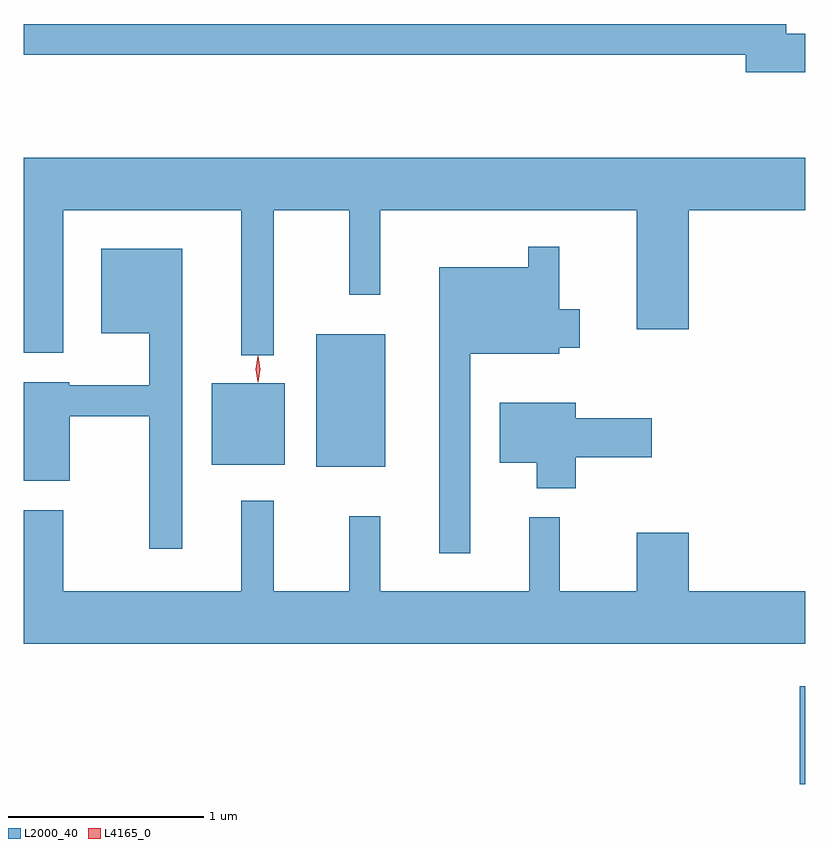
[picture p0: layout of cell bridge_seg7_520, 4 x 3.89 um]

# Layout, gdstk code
import gdstk
lib = gdstk.Library(unit=1e-6, precision=1e-09)
def R(c, l, rs):  # rectangles x0, y0, x1, y1
    for r in rs: c.add(gdstk.rectangle(r[:2], r[2:], *l))
def P(c, l, *ps):  # polygons
    for p in ps: c.add(gdstk.Polygon(p, *l))
L2000_40 = (2000, 40)
L4165_0 = (4165, 0)

bridge_seg7_520 = lib.new_cell('bridge_seg7_520')
R(bridge_seg7_520, L2000_40, [(895.231,1751.337,895.259,1751.838), (892.756,1752.961,893.109,1753.639), (892.221,1752.971,892.594,1753.389)])
P(bridge_seg7_520, L2000_40, [(895.259,1755.179),(895.164,1755.179),(895.164,1755.229),(891.259,1755.229),(891.259,1755.071),(894.956,1755.071),(894.956,1754.981),(895.259,1754.981)],
  [(892.539,1754.276),(892.926,1754.276),(892.926,1753.843),(893.084,1753.843),(893.084,1754.276),(894.396,1754.276),(894.396,1753.666),(894.664,1753.666),(894.664,1754.276),(895.259,1754.276),(895.259,1754.544),(891.259,1754.544),(891.259,1753.546),(891.459,1753.546),(891.459,1754.276),(892.371,1754.276),(892.371,1753.533),(892.539,1753.533)],
  [(893.544,1753.541),(893.999,1753.541),(893.999,1753.571),(894.104,1753.571),(894.104,1753.769),(893.999,1753.769),(893.999,1754.088),(893.841,1754.088),(893.841,1753.984),(893.386,1753.984),(893.386,1752.518),(893.544,1752.518)],
  [(892.069,1754.079),(891.656,1754.079),(891.656,1753.646),(891.901,1753.646),(891.901,1753.379),(891.49,1753.379),(891.49,1753.394),(891.259,1753.394),(891.259,1752.891),(891.494,1752.891),(891.494,1753.221),(891.901,1753.221),(891.901,1752.543),(892.069,1752.543)],
  [(894.084,1753.011),(894.474,1753.011),(894.474,1753.209),(894.084,1753.209),(894.084,1753.289),(893.696,1753.289),(893.696,1752.981),(893.886,1752.981),(893.886,1752.851),(894.084,1752.851)],
  [(895.259,1752.324),(894.664,1752.324),(894.664,1752.624),(894.396,1752.624),(894.396,1752.324),(894.004,1752.324),(894.004,1752.703),(893.846,1752.703),(893.846,1752.324),(893.084,1752.324),(893.084,1752.708),(892.926,1752.708),(892.926,1752.324),(892.539,1752.324),(892.539,1752.788),(892.371,1752.788),(892.371,1752.324),(891.459,1752.324),(891.459,1752.739),(891.259,1752.739),(891.259,1752.056),(895.259,1752.056)])
P(bridge_seg7_520, L4165_0, [(892.458,1753.394),(892.449,1753.462),(892.458,1753.53),(892.458,1753.53),(892.459,1753.53),(892.468,1753.462),(892.46,1753.394),(892.459,1753.394)],
  [(892.456,1753.398),(892.447,1753.462),(892.456,1753.527),(892.457,1753.527),(892.457,1753.527),(892.467,1753.462),(892.457,1753.398),(892.457,1753.398)])

lib.write_gds('bridge_seg7_520.gds')
